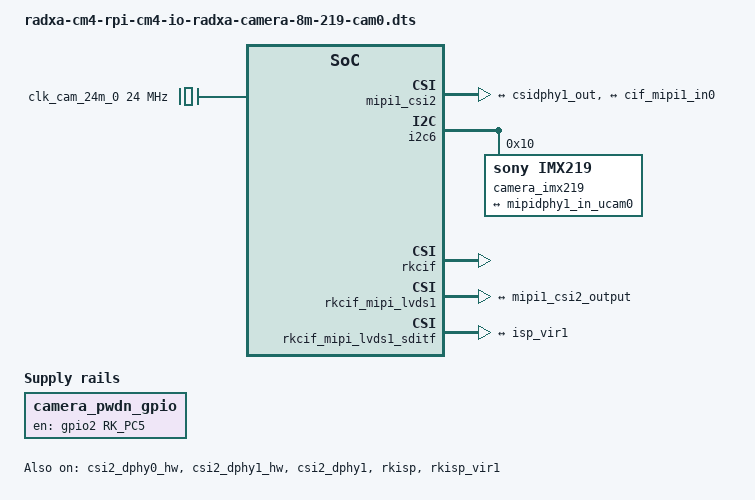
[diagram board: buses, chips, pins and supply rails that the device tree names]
/dts-v1/;
/plugin/;

#include <dt-bindings/gpio/gpio.h>
#include <dt-bindings/pinctrl/rockchip.h>

/ {
	metadata {
		title ="Enable Radxa Camera 8M 219 on CAM0";
		compatible = "radxa,cm4-rpi-cm4-io";
		category = "camera";
		exclusive = "csi2_dphy1", "i2c6";
		description = "Enable Radxa Camera 8M 219 on CAM0.";
	};
};

&{/} {
	camera_pwdn_gpio: camera-pwdn-gpio {
		compatible = "regulator-fixed";
		regulator-name = "camera_pwdn_gpio";
		regulator-always-on;
		regulator-boot-on;
		enable-active-high;
		gpio = <&gpio2 RK_PC5 GPIO_ACTIVE_HIGH>;
		pinctrl-names = "default";
		pinctrl-0 = <&cam_pwdn_gpio>;
	};

	clk_cam_24m_0: external-camera-clock-24m-0 {
		compatible = "fixed-clock";
		clock-frequency = <24000000>;
		clock-output-names = "clk_cam_24m_0";
		#clock-cells = <0>;
	};
};

&csi2_dphy0_hw {
	status = "okay";
};

&csi2_dphy1_hw {
	status = "okay";
};

&csi2_dphy1 {
	status = "okay";

	ports {
		#address-cells = <1>;
		#size-cells = <0>;

		port@0 {
			reg = <0>;
			#address-cells = <1>;
			#size-cells = <0>;

			mipidphy1_in_ucam0: endpoint@1 {
				reg = <1>;
				remote-endpoint = <&imx219_out0>;
				data-lanes = <1 2>;
			};
		};

		port@1 {
			reg = <1>;
			#address-cells = <1>;
			#size-cells = <0>;

			csidphy1_out: endpoint@0 {
				reg = <0>;
				remote-endpoint = <&mipi1_csi2_input>;
			};
		};
	};
};

&mipi1_csi2 {
	status = "okay";

	ports {
		#address-cells = <1>;
		#size-cells = <0>;

		port@0 {
			reg = <0>;
			#address-cells = <1>;
			#size-cells = <0>;

			mipi1_csi2_input: endpoint@1 {
				reg = <1>;
				remote-endpoint = <&csidphy1_out>;
			};
		};

		port@1 {
			reg = <1>;
			#address-cells = <1>;
			#size-cells = <0>;

			mipi1_csi2_output: endpoint@0 {
				reg = <0>;
				remote-endpoint = <&cif_mipi1_in0>;
			};
		};
	};
};

&i2c6 {
	status = "okay";
	pinctrl-0 = <&i2c6m3_xfer>;
	pinctrl-names = "default";
	#address-cells = <1>;
	#size-cells = <0>;

	camera_imx219: camera-imx219@10 {
		compatible = "sony,imx219";
		reg = <0x10>;

		clocks = <&clk_cam_24m_0>;
		clock-names = "xvclk";

		rockchip,camera-module-index = <0>;
		rockchip,camera-module-facing = "front";
		rockchip,camera-module-name = "RADXA-CAMERA-8M";
		rockchip,camera-module-lens-name = "default";

		port {
			imx219_out0: endpoint {
				remote-endpoint = <&mipidphy1_in_ucam0>;
				data-lanes = <1 2>;
			};
		};
	};
};

&rkcif {
	status = "okay";
};

&rkcif_mmu {
	status = "okay";
};

&rkcif_mipi_lvds1 {
	status = "okay";

	port {
		cif_mipi1_in0: endpoint {
			remote-endpoint = <&mipi1_csi2_output>;
		};
	};
};

&rkcif_mipi_lvds1_sditf {
	status = "okay";

	port {
		mipi_lvds1_sditf: endpoint {
			remote-endpoint = <&isp_vir1>;
		};
	};
};

&rkisp {
	status = "okay";
};

&rkisp_mmu {
	status = "okay";
};

&rkisp_vir1 {
	status = "okay";

	port {
		#address-cells = <1>;
		#size-cells = <0>;

		isp_vir1: endpoint@0 {
			reg = <0>;
			remote-endpoint = <&mipi_lvds1_sditf>;
		};
	};
};

&pinctrl {
	camera {
		cam_pwdn_gpio: cam-pwdn-gpio {
			rockchip,pins = <2 RK_PC5 RK_FUNC_GPIO &pcfg_pull_up>;
		};
	};
};
